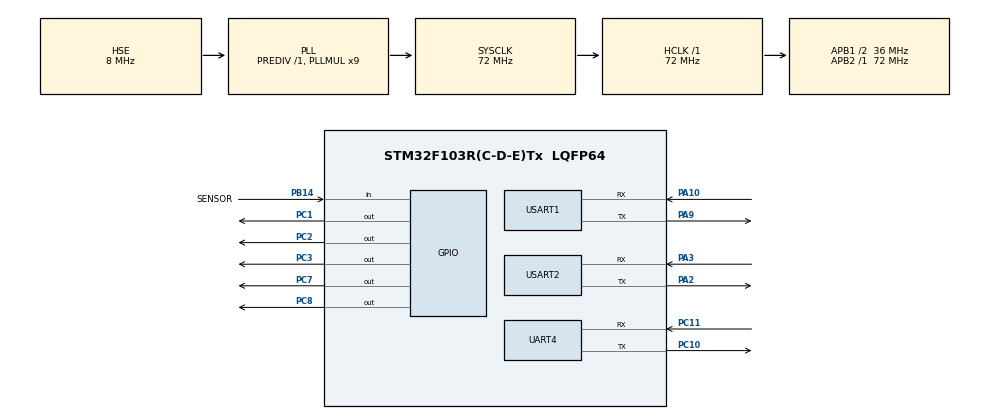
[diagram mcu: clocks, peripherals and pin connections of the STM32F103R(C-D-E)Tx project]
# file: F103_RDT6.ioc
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Dma.Request0=UART4_RX
Dma.Request1=UART4_TX
Dma.Request2=USART1_RX
Dma.Request3=USART1_TX
Dma.Request4=USART2_RX
Dma.Request5=USART2_TX
Dma.UART4_RX.0.Direction=DMA_PERIPH_TO_MEMORY
Dma.UART4_RX.0.Instance=DMA2_Channel3
Dma.UART4_RX.0.MemDataAlignment=DMA_MDATAALIGN_BYTE
Dma.UART4_RX.0.MemInc=DMA_MINC_ENABLE
Dma.UART4_RX.0.Mode=DMA_NORMAL
Dma.UART4_RX.0.PeriphDataAlignment=DMA_PDATAALIGN_BYTE
Dma.UART4_RX.0.PeriphInc=DMA_PINC_DISABLE
Dma.UART4_RX.0.Priority=DMA_PRIORITY_LOW
Dma.UART4_TX.1.Direction=DMA_MEMORY_TO_PERIPH
Dma.UART4_TX.1.Instance=DMA2_Channel5
Dma.UART4_TX.1.MemDataAlignment=DMA_MDATAALIGN_BYTE
Dma.UART4_TX.1.MemInc=DMA_MINC_ENABLE
Dma.UART4_TX.1.Mode=DMA_NORMAL
Dma.UART4_TX.1.PeriphDataAlignment=DMA_PDATAALIGN_BYTE
Dma.UART4_TX.1.PeriphInc=DMA_PINC_DISABLE
Dma.UART4_TX.1.Priority=DMA_PRIORITY_LOW
Dma.USART1_RX.2.Direction=DMA_PERIPH_TO_MEMORY
Dma.USART1_RX.2.Instance=DMA1_Channel5
Dma.USART1_RX.2.MemDataAlignment=DMA_MDATAALIGN_BYTE
Dma.USART1_RX.2.MemInc=DMA_MINC_ENABLE
Dma.USART1_RX.2.Mode=DMA_NORMAL
Dma.USART1_RX.2.PeriphDataAlignment=DMA_PDATAALIGN_BYTE
Dma.USART1_RX.2.PeriphInc=DMA_PINC_DISABLE
Dma.USART1_RX.2.Priority=DMA_PRIORITY_LOW
Dma.USART1_TX.3.Direction=DMA_MEMORY_TO_PERIPH
Dma.USART1_TX.3.Instance=DMA1_Channel4
Dma.USART1_TX.3.MemDataAlignment=DMA_MDATAALIGN_BYTE
Dma.USART1_TX.3.MemInc=DMA_MINC_ENABLE
Dma.USART1_TX.3.Mode=DMA_NORMAL
Dma.USART1_TX.3.PeriphDataAlignment=DMA_PDATAALIGN_BYTE
Dma.USART1_TX.3.PeriphInc=DMA_PINC_DISABLE
Dma.USART1_TX.3.Priority=DMA_PRIORITY_LOW
Dma.USART2_RX.4.Direction=DMA_PERIPH_TO_MEMORY
Dma.USART2_RX.4.Instance=DMA1_Channel6
Dma.USART2_RX.4.MemDataAlignment=DMA_MDATAALIGN_BYTE
Dma.USART2_RX.4.MemInc=DMA_MINC_ENABLE
Dma.USART2_RX.4.Mode=DMA_NORMAL
Dma.USART2_RX.4.PeriphDataAlignment=DMA_PDATAALIGN_BYTE
Dma.USART2_RX.4.PeriphInc=DMA_PINC_DISABLE
Dma.USART2_RX.4.Priority=DMA_PRIORITY_LOW
Dma.USART2_TX.5.Direction=DMA_MEMORY_TO_PERIPH
Dma.USART2_TX.5.Instance=DMA1_Channel7
Dma.USART2_TX.5.MemDataAlignment=DMA_MDATAALIGN_BYTE
Dma.USART2_TX.5.MemInc=DMA_MINC_ENABLE
Dma.USART2_TX.5.Mode=DMA_NORMAL
Dma.USART2_TX.5.PeriphDataAlignment=DMA_PDATAALIGN_BYTE
Dma.USART2_TX.5.PeriphInc=DMA_PINC_DISABLE
Dma.USART2_TX.5.Priority=DMA_PRIORITY_LOW
Mcu.Family=STM32F1
Mcu.Name=STM32F103R(C-D-E)Tx
Mcu.Package=LQFP64
NVIC.DMA1_Channel4_IRQn=true\:0\:0\:false\:false\:true\:false\:true\:true
NVIC.DMA1_Channel5_IRQn=true\:0\:0\:false\:false\:true\:false\:true\:true
NVIC.DMA1_Channel6_IRQn=true\:0\:0\:false\:false\:true\:false\:true\:true
NVIC.DMA1_Channel7_IRQn=true\:0\:0\:false\:false\:true\:false\:true\:true
NVIC.DMA2_Channel3_IRQn=true\:0\:0\:false\:false\:true\:false\:true\:true
NVIC.DMA2_Channel4_5_IRQn=true\:0\:0\:false\:false\:true\:false\:true\:true
NVIC.PriorityGroup=NVIC_PRIORITYGROUP_4
NVIC.UART4_IRQn=true\:0\:0\:false\:false\:true\:true\:true\:true
NVIC.USART1_IRQn=true\:0\:0\:false\:false\:true\:false\:true\:true
NVIC.USART2_IRQn=true\:0\:0\:false\:false\:true\:false\:true\:true
PA10.Mode=Asynchronous
PA10.Signal=USART1_RX
PA13.Mode=Serial_Wire
PA13.Signal=SYS_JTMS-SWDIO
PA14.Mode=Serial_Wire
PA14.Signal=SYS_JTCK-SWCLK
PA2.Mode=Asynchronous
PA2.Signal=USART2_TX
PA3.Mode=Asynchronous
PA3.Signal=USART2_RX
PA9.Mode=Asynchronous
PA9.Signal=USART1_TX
PB14.GPIO_Label=SENSOR
PB14.GPIO_PuPd=GPIO_NOPULL
PB14.Signal=GPIO_Input
PC1.Signal=GPIO_Output
PC10.Mode=Asynchronous
PC10.Signal=UART4_TX
PC11.Mode=Asynchronous
PC11.Signal=UART4_RX
PC2.Signal=GPIO_Output
PC3.Signal=GPIO_Output
PC7.Signal=GPIO_Output
PC8.Signal=GPIO_Output
PD0-OSC_IN.Mode=HSE-External-Oscillator
PD0-OSC_IN.Signal=RCC_OSC_IN
PD1-OSC_OUT.Mode=HSE-External-Oscillator
PD1-OSC_OUT.Signal=RCC_OSC_OUT
ProjectManager.HeapSize=0x200
ProjectManager.StackSize=0x400
ProjectManager.TargetToolchain=MDK-ARM V5.32
RCC.AHBFreq_Value=72000000
RCC.APB1CLKDivider=RCC_HCLK_DIV2
RCC.APB1Freq_Value=36000000
RCC.APB1TimFreq_Value=72000000
RCC.APB2Freq_Value=72000000
RCC.APB2TimFreq_Value=72000000
RCC.HCLKFreq_Value=72000000
RCC.PLLMUL=RCC_PLL_MUL9
RCC.PLLSourceVirtual=RCC_PLLSOURCE_HSE
RCC.SYSCLKFreq_VALUE=72000000
RCC.SYSCLKSource=RCC_SYSCLKSOURCE_PLLCLK
RCC.USBFreq_Value=72000000
UART4.VirtualMode=Asynchronous
USART1.VirtualMode=VM_ASYNC
USART2.VirtualMode=VM_ASYNC
board=custom

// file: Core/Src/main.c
/* USER CODE BEGIN Header */
/**
  ******************************************************************************
  * @file           : main.c
  * @brief          : Main program body
  ******************************************************************************
  * @attention
  *
  * Copyright (c) 2025 STMicroelectronics.
  * All rights reserved.
  *
  * This software is licensed under terms that can be found in the LICENSE file
  * in the root directory of this software component.
  * If no LICENSE file comes with this software, it is provided AS-IS.
  *
  ******************************************************************************
  */
/* USER CODE END Header */
#include "main.h"

/* USER CODE BEGIN Includes */
#include "all_thing.h"
#include "robot.h"
/* USER CODE END Includes */

UART_HandleTypeDef huart4;
UART_HandleTypeDef huart1;
UART_HandleTypeDef huart2;
DMA_HandleTypeDef hdma_uart4_rx;
DMA_HandleTypeDef hdma_uart4_tx;
DMA_HandleTypeDef hdma_usart1_rx;
DMA_HandleTypeDef hdma_usart1_tx;
DMA_HandleTypeDef hdma_usart2_rx;
DMA_HandleTypeDef hdma_usart2_tx;

void SystemClock_Config(void);
static void MX_GPIO_Init(void);
static void MX_DMA_Init(void);
static void MX_UART4_Init(void);
static void MX_USART1_UART_Init(void);
static void MX_USART2_UART_Init(void);

/* USER CODE BEGIN 0 */

bool stt_but = true;

motor_uart m[5];

void HAL_UART_RxCpltCallback(UART_HandleTypeDef *huart){
	if(huart->Instance == huart4.Instance){
		stt_but = true;
	}
	if(huart->Instance == huart1.Instance){
		angle_stt = true;
		angle = (angle_buff[0]<<8) | angle_buff[1];
		HAL_UART_Receive_IT(&huart1, angle_buff,2);
	}
}

void get_button_ps3(){
	static char head = 'd';
	static uint32_t tg = 0;
	if(stt_but){
		HAL_UART_Transmit(&huart4, (uint8_t*)&head, 1,10);
		tg = HAL_GetTick();
		stt_but = false;
	}else{
		HAL_UART_Receive_DMA(&huart4, rx_data, 10);
		button = rx_data[1]<<8  | rx_data[0];
		LX = ((rx_data[3] << 8)	|	rx_data[2]);
		LY = ((rx_data[5] << 8)	|	rx_data[4]);
		RX = ((rx_data[7] << 8)	|	rx_data[6]);
		RY = ((rx_data[9] << 8)	|	rx_data[8]);
		if(HAL_GetTick()-tg>=5){
			stt_but = true;
			tg = HAL_GetTick();
		}
	}
}

void compass(){
	static uint32_t tg_angle = 0;
	if(angle_stt){
		char head_angle = 'z';
		HAL_UART_Transmit(&huart1,(uint8_t*)&head_angle,1,10);
		HAL_UART_Receive_IT(&huart1, angle_buff,2);
		tg_angle = HAL_GetTick();
		angle_stt = false;
	}
	else{
		if(HAL_GetTick() - tg_angle >= 1000){
			angle_stt = true;
		}
	}
}

/*=========================================================ENCODER FUNCTION=========================================================================*/

int get_encoder(int32_t encoder_count, int32_t tim_count, TIM_HandleTypeDef* htim){
	int32_t en_value;
	encoder_count = __HAL_TIM_GET_COUNTER(htim);
	if(tim_count > 0 ){
		en_value  = (tim_count - 1)*65535 + encoder_count;
	}else if( tim_count <= 0 ){
		en_value = tim_count*65535 + encoder_count - 65535;
	}
	return en_value;
}

long encoder_diff(long f_value, long s_value){
	long delta;
	delta = (f_value - s_value + 65535 + 1) % (65535+1);
	if(delta>(65535+1)/2){
		delta -= (65535+1);
	}
	return delta;
}

void run_encoder(int32_t distance, int16_t angle_tt,int16_t angle_rot, int16_t speed){

	static int32_t err_move ;
	static int32_t last_err_move = 0;
	static double Kp,Ki,Kd;
	Kp = 0.005; Ki = 0.001; Kd = 0.03;
	int32_t output;

	err_move = encoder_diff(distance+abs(last_X), abs(X));

	output = Kp*(err_move) + Ki*(err_move+last_err_move) + Kd*(err_move- last_err_move);

	last_err_move = err_move;

	output = constrain(output, -speed, speed);

	if(err_move>0){
		move(angle_rot, 40, angle_tt, abs(output));
	}else if(err_move < 0){
		move(angle_rot, 40, angle_tt+1800, abs(output));
	}
}

/* USER CODE END 0 */

int main(void)
{

  /* MCU Configuration--------------------------------------------------------*/

  /* Reset of all peripherals, Initializes the Flash interface and the Systick. */
  HAL_Init();

  /* Configure the system clock */
  SystemClock_Config();

  /* Initialize all configured peripherals */
  MX_GPIO_Init();
  MX_DMA_Init();
  MX_UART4_Init();
  MX_USART1_UART_Init();
  MX_USART2_UART_Init();
  /* USER CODE BEGIN 2 */
	HAL_UART_Receive_DMA(&huart4, rx_data, 10);

	HAL_UART_Receive_IT(&huart1, angle_buff,2);

	Motor_uart_init(&m[0],&huart2,0x01);
	Motor_uart_init(&m[1],&huart2,0x02);
	Motor_uart_init(&m[2],&huart2,0x03);
	Motor_uart_init(&m[3],&huart2,0x04);
	Motor_uart_init(&m[4],&huart2,0x06);

	m[0].Forward(&m[0], 2);
	m[1].Forward(&m[1], 2);
	m[2].Forward(&m[2], 2);
	m[3].Forward(&m[3], 2);
	m[4].Forward(&m[4], 2);

	HAL_GPIO_WritePin(GPIO_day, GPIO_day_pin, GPIO_PIN_RESET);
	HAL_GPIO_WritePin(GPIO_kep, GPIO_kep_pin, GPIO_PIN_RESET);

	//int ok;
	//DEFINE MOTOR PWM
//	Init_MOTOR_PWM(&M[0], GPIO_MOTOR0, GPIO_MOTOR0_PIN, &htim3, TIM_CHANNEL_1);
//	Init_MOTOR_PWM(&M[1], GPIO_MOTOR1, GPIO_MOTOR1_PIN, &htim3, TIM_CHANNEL_2);
//	Init_MOTOR_PWM(&M[2], GPIO_MOTOR2, GPIO_MOTOR2_PIN, &htim8, TIM_CHANNEL_3);
//	Init_MOTOR_PWM(&M[3], GPIO_MOTOR3, GPIO_MOTOR3_PIN, &htim8, TIM_CHANNEL_4);
  /* USER CODE END 2 */

  /* Infinite loop */
  while (1)
  {

    /* USER CODE BEGIN 3 */

	//	compass();
		get_button_ps3();
		//hand_ctrl();
    test_nhay();
		//ok = HAL_GPIO_ReadPin(GPIO_rotate_port, GPIO_rotate_pin);
		//debug_var = ok;

	}
  /* USER CODE END 3 */
}

void SystemClock_Config(void)
{
  RCC_OscInitTypeDef RCC_OscInitStruct = {0};
  RCC_ClkInitTypeDef RCC_ClkInitStruct = {0};

  /** Initializes the RCC Oscillators according to the specified parameters
  * in the RCC_OscInitTypeDef structure.
  */
  RCC_OscInitStruct.OscillatorType = RCC_OSCILLATORTYPE_HSE;
  RCC_OscInitStruct.HSEState = RCC_HSE_ON;
  RCC_OscInitStruct.HSEPredivValue = RCC_HSE_PREDIV_DIV1;
  RCC_OscInitStruct.HSIState = RCC_HSI_ON;
  RCC_OscInitStruct.PLL.PLLState = RCC_PLL_ON;
  RCC_OscInitStruct.PLL.PLLSource = RCC_PLLSOURCE_HSE;
  RCC_OscInitStruct.PLL.PLLMUL = RCC_PLL_MUL9;
  if (HAL_RCC_OscConfig(&RCC_OscInitStruct) != HAL_OK)
  {
    Error_Handler();
  }

  /** Initializes the CPU, AHB and APB buses clocks
  */
  RCC_ClkInitStruct.ClockType = RCC_CLOCKTYPE_HCLK|RCC_CLOCKTYPE_SYSCLK
                              |RCC_CLOCKTYPE_PCLK1|RCC_CLOCKTYPE_PCLK2;
  RCC_ClkInitStruct.SYSCLKSource = RCC_SYSCLKSOURCE_PLLCLK;
  RCC_ClkInitStruct.AHBCLKDivider = RCC_SYSCLK_DIV1;
  RCC_ClkInitStruct.APB1CLKDivider = RCC_HCLK_DIV2;
  RCC_ClkInitStruct.APB2CLKDivider = RCC_HCLK_DIV1;

  if (HAL_RCC_ClockConfig(&RCC_ClkInitStruct, FLASH_LATENCY_2) != HAL_OK)
  {
    Error_Handler();
  }
}

static void MX_UART4_Init(void)
{

  huart4.Instance = UART4;
  huart4.Init.BaudRate = 115200;
  huart4.Init.WordLength = UART_WORDLENGTH_8B;
  huart4.Init.StopBits = UART_STOPBITS_1;
  huart4.Init.Parity = UART_PARITY_NONE;
  huart4.Init.Mode = UART_MODE_TX_RX;
  huart4.Init.HwFlowCtl = UART_HWCONTROL_NONE;
  huart4.Init.OverSampling = UART_OVERSAMPLING_16;
  if (HAL_UART_Init(&huart4) != HAL_OK)
  {
    Error_Handler();
  }

}

static void MX_USART1_UART_Init(void)
{

  huart1.Instance = USART1;
  huart1.Init.BaudRate = 115200;
  huart1.Init.WordLength = UART_WORDLENGTH_8B;
  huart1.Init.StopBits = UART_STOPBITS_1;
  huart1.Init.Parity = UART_PARITY_NONE;
  huart1.Init.Mode = UART_MODE_TX_RX;
  huart1.Init.HwFlowCtl = UART_HWCONTROL_NONE;
  huart1.Init.OverSampling = UART_OVERSAMPLING_16;
  if (HAL_UART_Init(&huart1) != HAL_OK)
  {
    Error_Handler();
  }

}

static void MX_USART2_UART_Init(void)
{

  huart2.Instance = USART2;
  huart2.Init.BaudRate = 115200;
  huart2.Init.WordLength = UART_WORDLENGTH_8B;
  huart2.Init.StopBits = UART_STOPBITS_1;
  huart2.Init.Parity = UART_PARITY_NONE;
  huart2.Init.Mode = UART_MODE_TX_RX;
  huart2.Init.HwFlowCtl = UART_HWCONTROL_NONE;
  huart2.Init.OverSampling = UART_OVERSAMPLING_16;
  if (HAL_UART_Init(&huart2) != HAL_OK)
  {
    Error_Handler();
  }

}

static void MX_DMA_Init(void)
{

  /* DMA controller clock enable */
  __HAL_RCC_DMA2_CLK_ENABLE();
  __HAL_RCC_DMA1_CLK_ENABLE();

  /* DMA interrupt init */
  /* DMA1_Channel4_IRQn interrupt configuration */
  HAL_NVIC_SetPriority(DMA1_Channel4_IRQn, 0, 0);
  HAL_NVIC_EnableIRQ(DMA1_Channel4_IRQn);
  /* DMA1_Channel5_IRQn interrupt configuration */
  HAL_NVIC_SetPriority(DMA1_Channel5_IRQn, 0, 0);
  HAL_NVIC_EnableIRQ(DMA1_Channel5_IRQn);
  /* DMA1_Channel6_IRQn interrupt configuration */
  HAL_NVIC_SetPriority(DMA1_Channel6_IRQn, 0, 0);
  HAL_NVIC_EnableIRQ(DMA1_Channel6_IRQn);
  /* DMA1_Channel7_IRQn interrupt configuration */
  HAL_NVIC_SetPriority(DMA1_Channel7_IRQn, 0, 0);
  HAL_NVIC_EnableIRQ(DMA1_Channel7_IRQn);
  /* DMA2_Channel3_IRQn interrupt configuration */
  HAL_NVIC_SetPriority(DMA2_Channel3_IRQn, 0, 0);
  HAL_NVIC_EnableIRQ(DMA2_Channel3_IRQn);
  /* DMA2_Channel4_5_IRQn interrupt configuration */
  HAL_NVIC_SetPriority(DMA2_Channel4_5_IRQn, 0, 0);
  HAL_NVIC_EnableIRQ(DMA2_Channel4_5_IRQn);

}

static void MX_GPIO_Init(void)
{
  GPIO_InitTypeDef GPIO_InitStruct = {0};

  /* GPIO Ports Clock Enable */
  __HAL_RCC_GPIOD_CLK_ENABLE();
  __HAL_RCC_GPIOC_CLK_ENABLE();
  __HAL_RCC_GPIOA_CLK_ENABLE();
  __HAL_RCC_GPIOB_CLK_ENABLE();

  /*Configure GPIO pin Output Level */
  HAL_GPIO_WritePin(GPIOC, GPIO_PIN_1|GPIO_PIN_2|GPIO_PIN_3|GPIO_PIN_7
                          |GPIO_PIN_8, GPIO_PIN_RESET);

  /*Configure GPIO pins : PC1 PC2 PC3 PC7
                           PC8 */
  GPIO_InitStruct.Pin = GPIO_PIN_1|GPIO_PIN_2|GPIO_PIN_3|GPIO_PIN_7
                          |GPIO_PIN_8;
  GPIO_InitStruct.Mode = GPIO_MODE_OUTPUT_PP;
  GPIO_InitStruct.Pull = GPIO_NOPULL;
  GPIO_InitStruct.Speed = GPIO_SPEED_FREQ_LOW;
  HAL_GPIO_Init(GPIOC, &GPIO_InitStruct);

  /*Configure GPIO pin : SENSOR_Pin */
  GPIO_InitStruct.Pin = SENSOR_Pin;
  GPIO_InitStruct.Mode = GPIO_MODE_INPUT;
  GPIO_InitStruct.Pull = GPIO_NOPULL;
  HAL_GPIO_Init(SENSOR_GPIO_Port, &GPIO_InitStruct);

}

void Error_Handler(void)
{
  __disable_irq();
  while (1)
  {
  }
}
